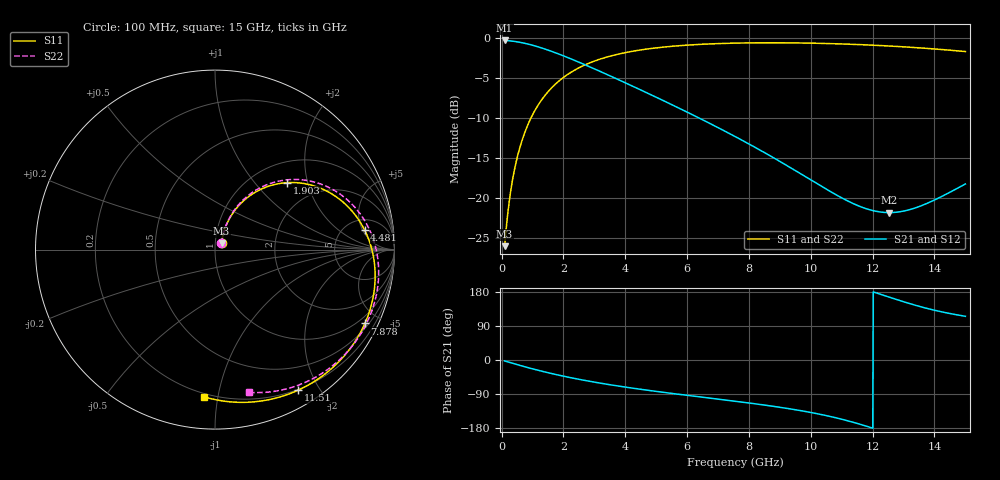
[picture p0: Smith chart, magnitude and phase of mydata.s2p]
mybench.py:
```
## Benches

from lib.inductor.rf import sp as Sp
from syntax import *
from functions.science import linspace

@setenv(type='bench', name='sp1')
class sp1():
    def __init__(self, **parameters):
        ls = parameters.get('ls', 1e-9)
        rs = parameters.get('rs', 1.0)
        cp = parameters.get('cp', 150e-15)
        cs = parameters.get('cs', 30e-15)
        rac = parameters.get('rac', 1)
        ldc = parameters.get('ldc', 1e-9)
        k1 = parameters.get('k1', 0.9)
        rsub = parameters.get('rsub', 1)

        freq = linspace(0.1e9, 15e9, 101)
        
        lib = myinductor(name='myinductor', rs=rs, ls=ls, cp=cp, cs=cs, rac=rac, ldc=ldc, 
                                            k1=k1, rsub=rsub)
        dev = Device(model='myinductor', nodes=('plus', 'minus', '0'))
        cir1 = Sp(library=lib, device=dev, freq=freq)
        cir1.simulate(verbose=True)
        y11, y12, y21, y22 = cir1.Y()

        self.freq = freq
        self.l11 = (1.0/y11).imag/(2.0*pi*freq)
        self.r11 = (1.0/y11).real
        self.q11 = (1.0/y11).imag/(1/y11).real

@setenv(type='bench', name='sp2')
class sp2():
    def __init__(self, **parameters):
        freq = linspace(0.1e9, 15e9, 101)
        dev = Nport(nodes=('plus', '0', 'minus', '0'), file='./examples/MyInductor/mydata.s2p')
        cir1 = Sp(device=dev, freq=freq)
        cir1.simulate(verbose=True)
        y11, y12, y21, y22 = cir1.Y()

        self.freq = freq
        self.l11 = (1.0/y11).imag/(2.0*pi*freq)
        self.r11 = (1.0/y11).real
        self.q11 = (1.0/y11).imag/(1/y11).real
```
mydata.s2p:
! My data
# GHZ S MA R 50
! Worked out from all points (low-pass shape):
!   1001 points, 100 MHz to 15 GHz, reference 50 ohm
!   highest |S21| = -0.31 dB at 100 MHz (marker M1); lowest = -21.8 dB at 12.54 GHz (marker M2)
!   |S21| within 3 dB of the highest: start of sweep to 2.676 GHz
!   lowest |S11| = -26.0 dB at 100 MHz (marker M3), VSWR 1.11, Z = 53.6 + j3.69 ohm
!   |S11| at or under -10 dB: start of sweep to 951.8 MHz
!   |S22| runs from -26.0 to -0.5 dB; largest |S21 - S12| = 0.00041
!   S11 on the Smith chart (normalised r, x): 100 MHz: 1.07, +0.07; 1.903 GHz: 1.41, +1.50; 4.481 GHz: 7.42, +5.51; 7.878 GHz: 0.68, -4.19; 11.51 GHz: 0.19, -1.74; 15 GHz: 0.18, -0.91
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0.1  0.05002 43.3  0.9648 -2.5  0.9647 -2.5  0.04998 43.6
0.3831  0.1387 64.9  0.9537 -9.3  0.9535 -9.3  0.139 65.3
0.7109  0.2438 63.2  0.9297 -16.9  0.9295 -16.9  0.2444 63.9
1.9029  0.5476 42.9  0.7868 -41.0  0.7867 -40.9  0.5484 44.9
3.1843  0.7374 23.4  0.6187 -60.9  0.6186 -60.9  0.7387 26.8
4.4806  0.8407 7.4  0.4755 -77.1  0.4753 -77.1  0.8424 12.2
7.5649  0.9287 -23.4  0.2416 -108.9  0.2416 -109.0  0.9329 -14.9
7.8778  0.931 -26.2  0.2242 -112.1  0.2242 -112.2  0.9356 -17.4
11.5134  0.91 -59.4  0.0898 -167.7  0.08989 -167.7  0.9186 -45.7
12.5415  0.8907 -69.2  0.08109 165.8  0.08098 165.8  0.8987 -54.2
15  0.8225 -94.2  0.1224 115.3  0.1223 115.3  0.8176 -76.6
